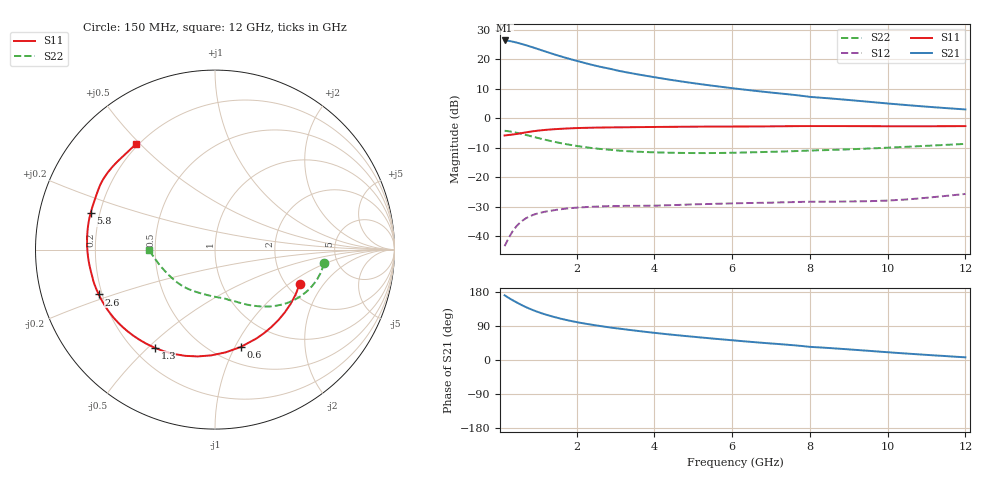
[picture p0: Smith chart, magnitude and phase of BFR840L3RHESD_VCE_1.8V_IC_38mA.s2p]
! Infineon Technologies  Discrete & RF Semiconductors
! BFR840L3RHESD
! VCE =  1.8 V,  IC =  38 mA
! Common Emitter S-Parameters:  Jun 2012
# GHz  S  MA  R  50
!  f  S11  S21  S12  S22
! GHz  MAG  ANG  MAG  ANG  MAG  ANG  MAG  ANG
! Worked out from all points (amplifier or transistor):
!   91 points, 150 MHz to 12 GHz, reference 50 ohm
!   highest |S21| = 26.4 dB at 150 MHz (marker M1)
!   |S21| within 3 dB of that: start of sweep to 1.026 GHz
!   unconditionally stable (mu >= 1): start of sweep to 382.3 MHz; 2.968 GHz to end of sweep
!   at 1.3 GHz: K = 0.66, MSG = 26.9 dB, |S12| = -31.5 dB
!   at 4.3 GHz: K = 1.39, MAG = 17.7 dB, |S12| = -29.6 dB
!   at 12 GHz: K = 2.85, MAG = 6.9 dB, |S12| = -25.7 dB
!   S11 on the Smith chart (normalised r, x): 150 MHz: 2.35, -1.21; 600 MHz: 0.67, -1.06; 1.3 GHz: 0.28, -0.53; 2.6 GHz: 0.19, -0.18; 5.8 GHz: 0.16, +0.14; 12 GHz: 0.19, +0.49
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0.15  0.5091 -22.0  20.97 170.7  0.0067 52.5  0.6116 -7.2
0.25  0.5185 -35.5  20.63 164.3  0.0091 56.2  0.6014 -12.9
0.35  0.5282 -48.1  20.06 158.2  0.0118 56.2  0.5865 -18.1
0.5  0.5464 -65.0  18.98 149.7  0.0157 53.8  0.5592 -25.1
0.6  0.5607 -75.0  18.2 144.4  0.018 51.6  0.5396 -29.3
0.7  0.5754 -84.0  17.39 139.5  0.02 49.4  0.5197 -33.1
0.9  0.6029 -99.2  15.81 130.8  0.023 44.9  0.4811 -39.6
1.1  0.6249 -111.4  14.3 123.4  0.025 41.0  0.4458 -45.2
1.3  0.6418 -121.5  12.95 117.1  0.0266 37.9  0.4148 -49.9
1.5  0.6553 -129.9  11.76 111.5  0.0279 35.5  0.3884 -54.0
1.7  0.6665 -136.9  10.74 106.5  0.029 33.6  0.3661 -57.8
1.9  0.6759 -142.9  9.859 102.1  0.0299 31.9  0.3473 -61.1
2.2  0.6861 -150.6  8.724 96.3  0.0308 29.2  0.3241 -65.6
2.6  0.6942 -158.9  7.512 89.8  0.0317 26.7  0.3011 -71.1
3  0.7002 -165.9  6.581 83.9  0.0322 26.7  0.2857 -76.0
3.4  0.7037 -171.7  5.837 78.9  0.0325 25.9  0.2735 -81.5
4.2  0.7124 178.7  4.739 69.5  0.033 26.7  0.2613 -91.9
5.8  0.7222 163.7  3.366 53.9  0.0354 29.0  0.2576 -113.0
6.1  0.7231 161.3  3.185 51.2  0.0359 29.6  0.2597 -117.0
8.5  0.7359 144.4  2.176 31.6  0.0382 35.0  0.2885 -147.4
10.5  0.7299 133.2  1.67 16.9  0.0417 44.2  0.3273 -167.3
12  0.7347 126.8  1.41 7.0  0.0517 47.7  0.3665 -179.7
